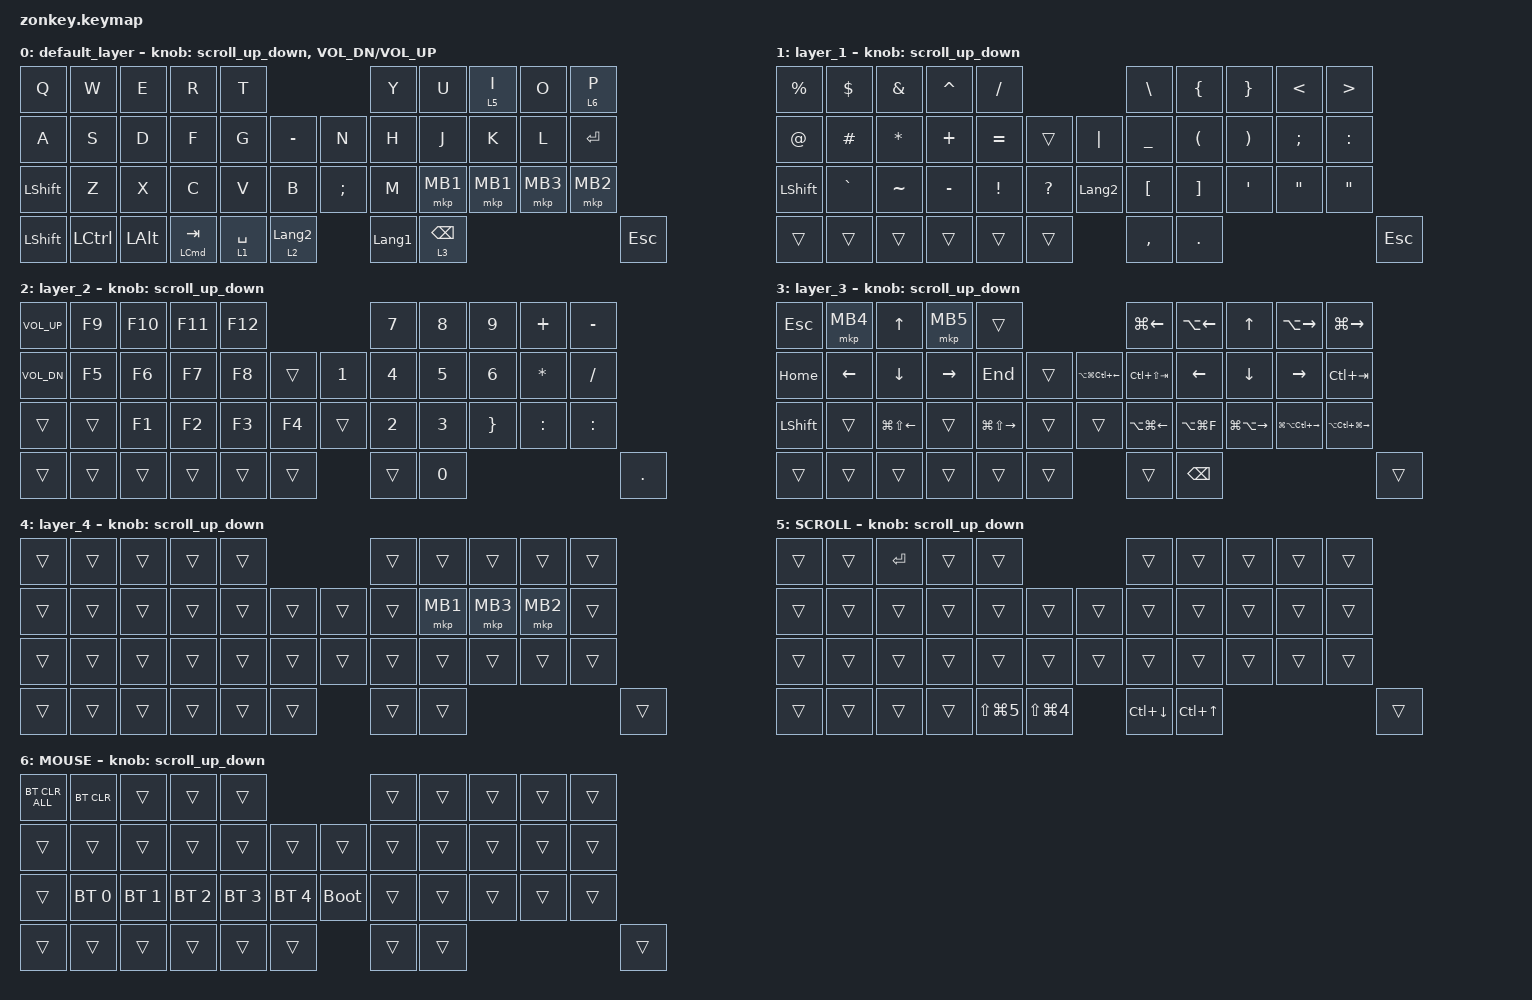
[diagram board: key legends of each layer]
#include <behaviors.dtsi>
#include <dt-bindings/zmk/bt.h>
#include <dt-bindings/zmk/keys.h>
#include <dt-bindings/zmk/pointing.h>

#define ZMK_POINTING_DEFAULT_SCRL_VAL 100
#define MOUSE 6
#define JP_DQUOTE       AT                // "
#define JP_AMPERSAND    CARET             // &
#define JP_QUOTE        AMPERSAND         // '
#define JP_EQUAL        UNDER             // =
#define JP_CARET        EQUAL             // ^
#define JP_YEN          0x89              // ¥
#define JP_PLUS         COLON             // +
#define JP_TILDE        PLUS              // ~
#define JP_PIPE         LS(0x89)          // |
#define JP_AT           LEFT_BRACKET      // @
#define JP_COLON        SINGLE_QUOTE      // :
#define JP_ASTERISK     DOUBLE_QUOTES     // *
#define JP_BACKQUOTE    LEFT_BRACE        // `
#define JP_UNDERSCORE   LS(0x87)          // _
#define JP_LBRACKET     RIGHT_BRACKET     // [
#define JP_RBRACKET     BACKSLASH         // ]
#define JP_LPAREN       ASTERISK          // (
#define JP_RPAREN       LEFT_PARENTHESIS  // )
#define JP_LBRACE       RIGHT_BRACE       // {
#define JP_RBRACE       PIPE              // }
#define JP_KANA         LANGUAGE_1        // かな
#define JP_EISU         LANGUAGE_2        // 英数
#define JP_HANZEN       GRAVE             // 半角/全角
#define JP_BSLH  INT1         // (backslash)

&mt {
    flavor = "balanced";
    quick-tap-ms = <0>;
};

/ {
    combos { compatible = "zmk,combos"; };

    mo2: mo2 {
        compatible = "zmk,behavior-mod-morph";
        #binding-cells = <0>;
        bindings = <&kp N2>, <&kp AT>;

        mods = <(MOD_LSFT|MOD_RSFT)>;
    };

    mo6: mo6 {
        compatible = "zmk,behavior-mod-morph";
        #binding-cells = <0>;
        bindings = <&kp N6>, <&kp CARET>;

        mods = <(MOD_LSFT|MOD_RSFT)>;
    };

    mo7: mo7 {
        compatible = "zmk,behavior-mod-morph";
        #binding-cells = <0>;
        bindings = <&kp N7>, <&kp AMPS>;

        mods = <(MOD_LSFT|MOD_RSFT)>;
    };

    mo8: mo8 {
        compatible = "zmk,behavior-mod-morph";
        #binding-cells = <0>;
        bindings = <&kp N8>, <&kp ASTRK>;

        mods = <(MOD_LSFT|MOD_RSFT)>;
    };

    mo9: mo9 {
        compatible = "zmk,behavior-mod-morph";
        #binding-cells = <0>;
        bindings = <&kp N9>, <&kp LPAR>;

        mods = <(MOD_LSFT|MOD_RSFT)>;
    };

    mo0: mo0 {
        compatible = "zmk,behavior-mod-morph";
        #binding-cells = <0>;
        bindings = <&kp N0>, <&kp LS(N9)>;

        mods = <(MOD_LSFT|MOD_RSFT)>;
    };

    moA: moA {
        compatible = "zmk,behavior-mod-morph";
        #binding-cells = <0>;
        bindings = <&kp MINUS>, <&kp UNDERSCORE>;

        mods = <(MOD_LSFT|MOD_RSFT)>;
    };

    moB: moB {
        compatible = "zmk,behavior-mod-morph";
        #binding-cells = <0>;
        bindings = <&kp EQUAL>, <&kp PLUS>;

        mods = <(MOD_LSFT|MOD_RSFT)>;
    };

    moC: moC {
        compatible = "zmk,behavior-mod-morph";
        #binding-cells = <0>;
        bindings = <&kp INT3>, <&kp JP_PIPE>;

        mods = <(MOD_LSFT|MOD_RSFT)>;
    };

    moD: moD {
        compatible = "zmk,behavior-mod-morph";
        #binding-cells = <0>;
        bindings = <&kp LBKT>, <&kp LBRC>;

        mods = <(MOD_LSFT|MOD_RSFT)>;
    };

    moE: moE {
        compatible = "zmk,behavior-mod-morph";
        #binding-cells = <0>;
        bindings = <&kp RBKT>, <&kp RBRC>;

        mods = <(MOD_LSFT|MOD_RSFT)>;
    };

    moF: moF {
        compatible = "zmk,behavior-mod-morph";
        #binding-cells = <0>;
        bindings = <&kp SEMI>, <&kp KP_PLUS>;

        mods = <(MOD_LSFT|MOD_RSFT)>;
    };

    moG: moG {
        compatible = "zmk,behavior-mod-morph";
        #binding-cells = <0>;
        bindings = <&kp APOSTROPHE>, <&kp DQT>;

        mods = <(MOD_LSFT|MOD_RSFT)>;
    };

    moH: moH {
        compatible = "zmk,behavior-mod-morph";
        #binding-cells = <0>;
        bindings = <&kp BACKSLASH>, <&kp TILDE2>;

        mods = <(MOD_LSFT|MOD_RSFT)>;
    };

    moI: moI {
        compatible = "zmk,behavior-mod-morph";
        #binding-cells = <0>;
        bindings = <&kp JP_BSLH>, <&kp JP_UNDERSCORE>;

        mods = <(MOD_LSFT|MOD_RSFT)>;
    };

    macros {
        to_layer_0: to_layer_0 {
            compatible = "zmk,behavior-macro-one-param";
            #binding-cells = <1>;
            bindings = <&to 0 &macro_param_1to1 &kp MACRO_PLACEHOLDER>;
            label = "TO_LAYER_0";
        };
    };

    behaviors {
        lt_to_layer_0: lt_to_layer_0 {
            compatible = "zmk,behavior-hold-tap";
            label = "LAYER_TAP_TO_0";
            bindings = <&mo>, <&to_layer_0>;

            #binding-cells = <2>;
            tapping-term-ms = <200>;
        };

        scroll_up_down: behavior_sensor_rotate_mouse_wheel_up_down {
            compatible = "zmk,behavior-sensor-rotate";
            #sensor-binding-cells = <0>;
            bindings = <&msc SCRL_DOWN>, <&msc SCRL_UP>;

            tap-ms = <20>;
        };
    };

    keymap {
        compatible = "zmk,keymap";

        default_layer {
            // -----------------------------------------------------------------------------------------
            // |  Q  |  W  |  E  |  R  |  T  |                        |  Y  |  U   |  I  |  O  |  P  | 
            // |  A  |  S  |  D  |  F  |  G  |LS(LG(S))|        　 | - |  H  |  J   |  K  |  L  |  `  | 
            // |SHIFT|  Z  |  X  |  C  |  V  |  B  |           | ; |  N  |  M   |  ,  |  .  |  /  | 
            // | CTRL | WIN | ALT |HENKAN|SPACE|MUHENKAN|       | BS | ENT |      　　　　       | DEL |           

            bindings = <
&kp Q           &kp W             &kp E         &kp R                 &kp T                                           &kp Y           &kp U            &lt 5 I   &kp O     &lt 6 P
&kp A           &kp S             &kp D         &kp F                 &kp G        &kp MINUS           &kp N          &kp H           &kp J            &kp K     &kp L     &kp ENTER
&kp LEFT_SHIFT  &kp Z             &kp X         &kp C                 &kp V        &kp B               &kp SEMICOLON  &kp M           &mkp MB1         &mkp MB1  &mkp MB3  &mkp MB2
&kp LEFT_SHIFT  &kp LEFT_CONTROL  &kp LEFT_ALT  &mt LEFT_COMMAND TAB  &lt 1 SPACE  &lt 2 LANGUAGE_2                   &kp LANGUAGE_1  &lt 3 BACKSPACE                                 &kp ESCAPE
            >;

            sensor-bindings =
                <&scroll_up_down>,
                <&inc_dec_kp C_VOL_DN C_VOL_UP>;
        };

        layer_1 {
            // -----------------------------------------------------------------------------------------
            // | 半角/全角 |CAPS|     |     |     |                     |     |     |  -  |  ^  |  ¥  |
            // | TAB |     |     |     |     |     |              |    |     |     |     |  @  |  [  |
            // |SHIFT|     |     |     |     |     |            | 英数 | かな |     |     |     |  ]  |
            // | CTRL| WIN | ALT |HENKAN|SPACE|MUHENKAN|         | BS | ENT |                   | DEL |

            bindings = <
&kp PERCENT     &kp DOLLAR  &kp AMPERSAND  &kp CARET  &kp SLASH                                     &kp BACKSLASH     &kp LEFT_BRACE        &kp RIGHT_BRACE        &kp LESS_THAN      &kp GREATER_THAN
&kp AT_SIGN     &kp HASH    &kp ASTERISK   &kp PLUS   &kp EQUAL        &trans          &kp PIPE     &kp UNDERSCORE    &kp LEFT_PARENTHESIS  &kp RIGHT_PARENTHESIS  &kp SEMICOLON      &kp COLON
&kp LEFT_SHIFT  &kp GRAVE   &kp TILDE      &kp MINUS  &kp EXCLAMATION  &kp QUESTION    &kp JP_EISU  &kp LEFT_BRACKET  &kp RIGHT_BRACKET     &kp SQT                &kp DOUBLE_QUOTES  &kp DOUBLE_QUOTES
&trans          &trans      &trans         &trans     &trans           &trans                       &kp COMMA         &kp PERIOD                                                                         &kp ESCAPE
            >;

            sensor-bindings = <&scroll_up_down>;
        };

        layer_2 {
            // -----------------------------------------------------------------------------------------
            // |  1  |  2  |  3  |  4  |  5  |                     |  6  |  7  |  8  |  9  |   0  |
            // |      |     |     |     |     |     |           |    |     |     |     |  ↑  |      |
            // |SHIFT|     |     |     |     |     |           |     |     |     |  ←  |  ↓  |  →  |
            // | CTRL| WIN | ALT |HENKAN|SPACE|MUHENKAN|         | BS | ENT |                   | DEL |

            bindings = <
&kp C_VOLUME_UP  &kp F9  &kp F10  &kp F11  &kp F12                    &kp N7        &kp N8  &kp N9           &kp PLUS      &kp MINUS
&kp C_VOL_DN     &kp F5  &kp F6   &kp F7   &kp F8   &trans    &kp N1  &kp NUMBER_4  &kp N5  &kp NUMBER_6     &kp ASTERISK  &kp SLASH
&trans           &trans  &kp F1   &kp F2   &kp F3   &kp F4    &trans  &kp N2        &kp N3  &kp RIGHT_BRACE  &kp COLON     &kp COLON
&trans           &trans  &trans   &trans   &trans   &trans            &trans        &kp N0                                            &kp PERIOD
            >;

            sensor-bindings = <&scroll_up_down>;
        };

        layer_3 {
            // -----------------------------------------------------------------------------------------
            // | F1  | F2  | F3  | F4  | F5  |                     | F6  | F7 | F8  | F9 | F10 |
            // | F11 | F12 |     |     |     |     |           |    |     |     |     |     |      |
            // |SHIFT|     |     |     |     |     |           |     |     |     |     |     |      |
            // | CTRL| WIN | ALT |HENKAN|SPACE|MUHENKAN|         | BS | ENT |                   | DEL |

            bindings = <
&kp ESCAPE      &mkp MB4        &kp UP_ARROW            &mkp MB5         &trans                                                         &kp LG(LEFT_ARROW)      &kp LA(LEFT_ARROW)  &kp UP_ARROW             &kp LA(RIGHT_ARROW)          &kp LG(RIGHT_ARROW)
&kp HOME        &kp LEFT_ARROW  &kp DOWN_ARROW          &kp RIGHT_ARROW  &kp END                  &trans    &kp LA(LG(LC(LEFT_ARROW)))  &kp LC(LS(TAB))         &kp LEFT_ARROW      &kp DOWN_ARROW           &kp RIGHT_ARROW              &kp LC(TAB)
&kp LEFT_SHIFT  &trans          &kp LG(LS(LEFT_ARROW))  &trans           &kp LG(LS(RIGHT_ARROW))  &trans    &trans                      &kp LA(LG(LEFT_ARROW))  &kp LA(LG(F))       &kp LG(LA(RIGHT_ARROW))  &kp LG(LA(LC(RIGHT_ARROW)))  &kp LA(LC(LG(RIGHT_ARROW)))
&trans          &trans          &trans                  &trans           &trans                   &trans                                &trans                  &kp BACKSPACE                                                                                          &trans
            >;

            sensor-bindings = <&scroll_up_down>;
        };

        layer_4 {
            // -----------------------------------------------------------------------------------------
            // | BT0 | BT1 | BT2 | BT3 | BT4 |                |  -  |  7  |  8  |  9  |  +  |
            // |BTCLR |     |     |     |     |     |           |  /  |  4  |  5  |  6  |  *  | 
            // |SHIFT|     |     |     |     |     |           |  0  |  1  |  2  |   3 |  .  |  =  |
            // | CTRL| WIN | ALT |HENKAN|SPACE|MUHENKAN|        | BS | ENT |                  | DEL |

            bindings = <
&trans  &trans  &trans  &trans  &trans                    &trans  &trans    &trans    &trans    &trans
&trans  &trans  &trans  &trans  &trans  &trans    &trans  &trans  &mkp MB1  &mkp MB3  &mkp MB2  &trans
&trans  &trans  &trans  &trans  &trans  &trans    &trans  &trans  &trans    &trans    &trans    &trans
&trans  &trans  &trans  &trans  &trans  &trans            &trans  &trans                                &trans
            >;

            sensor-bindings = <&scroll_up_down>;
        };

        SCROLL {
            // -----------------------------------------------------------------------------------------
            // |      |     |     |     |     |                     |     |     |     |     |      |
            // |      |     |     |     |     |     |           |    |     |     |     |     |      |
            // |SHIFT|     |     |     |     |     |          |     |     |     |     |     |      |
            // | CTRL| WIN | ALT |HENKAN|SPACE|MUHENKAN|        | BS | ENT |                  | DEL |

            bindings = <
&trans  &trans  &kp ENTER  &trans  &trans                                          &trans              &trans            &trans  &trans  &trans
&trans  &trans  &trans     &trans  &trans          &trans                  &trans  &trans              &trans            &trans  &trans  &trans
&trans  &trans  &trans     &trans  &trans          &trans                  &trans  &trans              &trans            &trans  &trans  &trans
&trans  &trans  &trans     &trans  &kp LS(LG(N5))  &kp LS(LG(NUMBER_4))            &kp LC(DOWN_ARROW)  &kp LC(UP_ARROW)                          &trans
            >;

            sensor-bindings = <&scroll_up_down>;
        };

        MOUSE {
            bindings = <
&bt BT_CLR_ALL  &bt BT_CLR    &trans        &trans        &trans                                     &trans  &trans  &trans  &trans  &trans
&trans          &trans        &trans        &trans        &trans        &trans          &trans       &trans  &trans  &trans  &trans  &trans
&trans          &bt BT_SEL 0  &bt BT_SEL 1  &bt BT_SEL 2  &bt BT_SEL 3  &bt BT_SEL 4    &bootloader  &trans  &trans  &trans  &trans  &trans
&trans          &trans        &trans        &trans        &trans        &trans                       &trans  &trans                          &trans
            >;

            sensor-bindings = <&scroll_up_down>;
        };
    };
};
